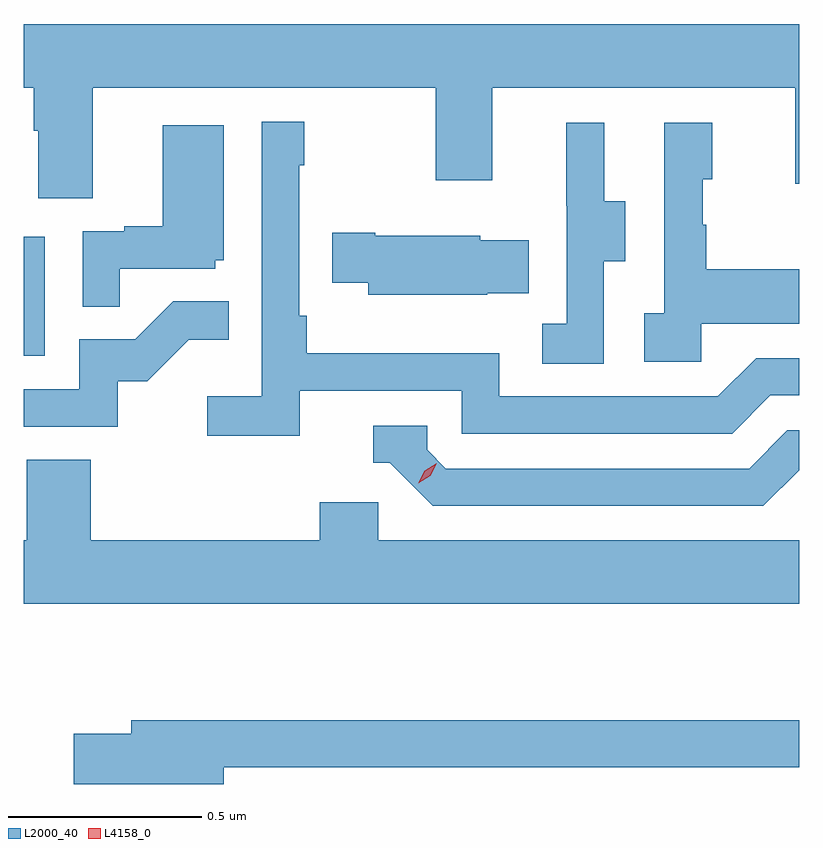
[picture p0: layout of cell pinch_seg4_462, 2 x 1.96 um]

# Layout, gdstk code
import gdstk
lib = gdstk.Library(unit=1e-6, precision=1e-09)
def R(c, l, rs):  # rectangles x0, y0, x1, y1
    for r in rs: c.add(gdstk.rectangle(r[:2], r[2:], *l))
def P(c, l, *ps):  # polygons
    for p in ps: c.add(gdstk.Polygon(p, *l))
L2000_40 = (2000, 40)
L4158_0 = (4158, 0)

pinch_seg4_462 = lib.new_cell('pinch_seg4_462')
R(pinch_seg4_462, L2000_40, [(899.584,781.476,899.638,781.783)])
P(pinch_seg4_462, L2000_40, [(899.584,782.168),(899.609,782.168),(899.609,782.056),(899.621,782.056),(899.621,781.882),(899.761,781.882),(899.761,782.168),(900.646,782.168),(900.646,781.929),(900.793,781.929),(900.793,782.168),(901.574,782.168),(901.574,781.92),(901.584,781.92),(901.584,782.332),(899.584,782.332)],
  [(900.296,781.386),(900.714,781.386),(900.714,781.275),(901.411,781.275),(901.51,781.374),(901.584,781.374),(901.584,781.47),(901.473,781.47),(901.374,781.371),(900.81,781.371),(900.81,781.483),(900.314,781.483),(900.314,781.579),(900.294,781.579),(900.294,781.967),(900.307,781.967),(900.307,782.08),(900.198,782.08),(900.198,781.372),(900.057,781.372),(900.057,781.27),(900.296,781.27)],
  [(901.08,781.72),(901.135,781.72),(901.135,781.875),(901.081,781.875),(901.081,782.077),(900.983,782.077),(900.983,781.863),(900.984,781.863),(900.984,781.559),(900.921,781.559),(900.921,781.456),(901.08,781.456)],
  [(901.332,781.559),(901.584,781.559),(901.584,781.699),(901.345,781.699),(901.345,781.814),(901.335,781.814),(901.335,781.932),(901.36,781.932),(901.36,782.077),(901.236,782.077),(901.236,781.586),(901.185,781.586),(901.185,781.461),(901.332,781.461)],
  [(899.831,781.701),(900.078,781.701),(900.078,781.722),(900.1,781.722),(900.1,782.071),(899.942,782.071),(899.942,781.81),(899.843,781.81),(899.843,781.797),(899.736,781.797),(899.736,781.603),(899.831,781.603)],
  [(900.779,781.637),(900.887,781.637),(900.887,781.774),(900.762,781.774),(900.762,781.786),(900.49,781.786),(900.49,781.794),(900.379,781.794),(900.379,781.664),(900.473,781.664),(900.473,781.634),(900.779,781.634)],
  [(899.826,781.41),(899.902,781.41),(900.009,781.517),(900.113,781.517),(900.113,781.616),(899.969,781.616),(899.871,781.518),(899.727,781.518),(899.727,781.389),(899.584,781.389),(899.584,781.293),(899.826,781.293)],
  [(901.584,781.181),(901.584,781.284),(901.554,781.284),(901.455,781.185),(900.672,781.185),(900.624,781.233),(900.624,781.296),(900.485,781.296),(900.485,781.2),(900.528,781.2),(900.639,781.089),(901.492,781.089)],
  [(901.584,781),(900.498,781),(900.498,781.098),(900.347,781.098),(900.347,781),(899.756,781),(899.756,781.208),(899.591,781.208),(899.591,781),(899.584,781),(899.584,780.836),(901.584,780.836)],
  [(900.1,780.414),(901.584,780.414),(901.584,780.535),(899.861,780.535),(899.861,780.501),(899.712,780.501),(899.712,780.371),(900.1,780.371)])
P(pinch_seg4_462, L4158_0, [(900.601,781.147),(900.601,781.147),(900.618,781.179),(900.649,781.198),(900.649,781.198),(900.649,781.198),(900.632,781.166),(900.601,781.147)])

lib.write_gds('pinch_seg4_462.gds')
